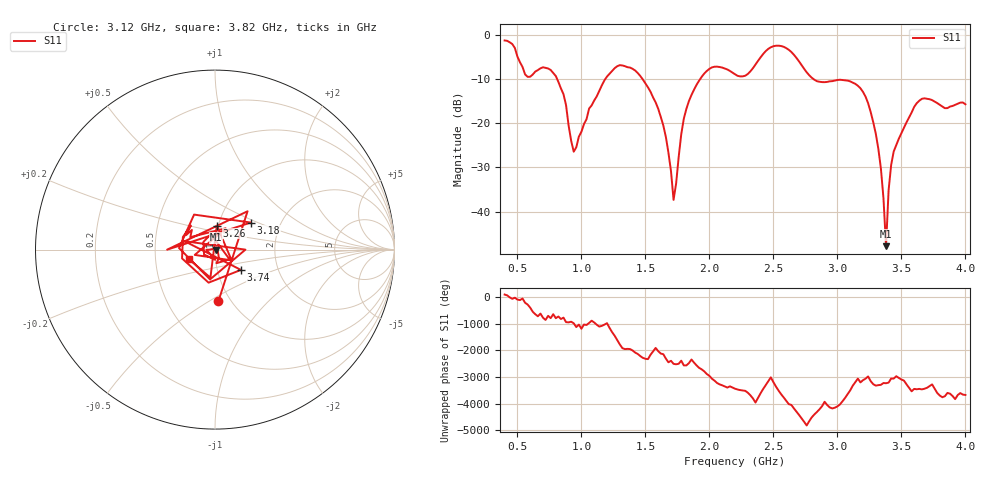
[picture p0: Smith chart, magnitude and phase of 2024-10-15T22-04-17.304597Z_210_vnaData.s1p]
! Created with skrf (http://scikit-rf.org).
# Hz S RI R 50.0
!freq ReS11 ImS11
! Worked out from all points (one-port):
!   181 points, 400 MHz to 4 GHz, reference 50 ohm
!   lowest |S11| = -47.9 dB at 3.38 GHz (marker M1), VSWR 1.01, Z = 50.4 + j0.0478 ohm
!   |S11| at or under -10 dB: 811 MHz to 1.186 GHz (374.6 MHz wide, 37.5 % of centre); 1.479 GHz to 1.927 GHz (448.3 MHz wide, 26.3 % of centre); 2.815 GHz to end of sweep
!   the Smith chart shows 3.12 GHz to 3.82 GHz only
!   S11 on the Smith chart (normalised r, x): 3.12 GHz: 0.88, -0.55; 3.18 GHz: 1.41, +0.45; 3.26 GHz: 0.98, +0.27; 3.74 GHz: 1.30, -0.30; 3.82 GHz: 0.74, -0.08
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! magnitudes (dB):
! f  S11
! 400 MHz  -1.2
! 580 MHz  -9.5
! 740 MHz  -7.6
! 860 MHz  -13.4
! 940 MHz  -26.4
! 1.3 GHz  -6.8
! 1.6 GHz  -16.7
! 1.66 GHz  -23.1
! 1.72 GHz  -37.4
! 1.76 GHz  -27.6
! 1.82 GHz  -16.7
! 1.94 GHz  -9.4
! 2.2 GHz  -8.9
! 2.5 GHz  -2.5
! 2.66 GHz  -4.4
! 2.84 GHz  -10.4
! 3.1 GHz  -10.5
! 3.12 GHz  -10.8
! 3.18 GHz  -12.0
! 3.26 GHz  -17.4
! 3.34 GHz  -30.3
! 3.38 GHz  -47.9
! 3.4 GHz  -35.2
! 3.42 GHz  -29.4
! 3.56 GHz  -18.7
! 3.74 GHz  -14.7
! 3.82 GHz  -16.2
! 4 GHz  -15.7
